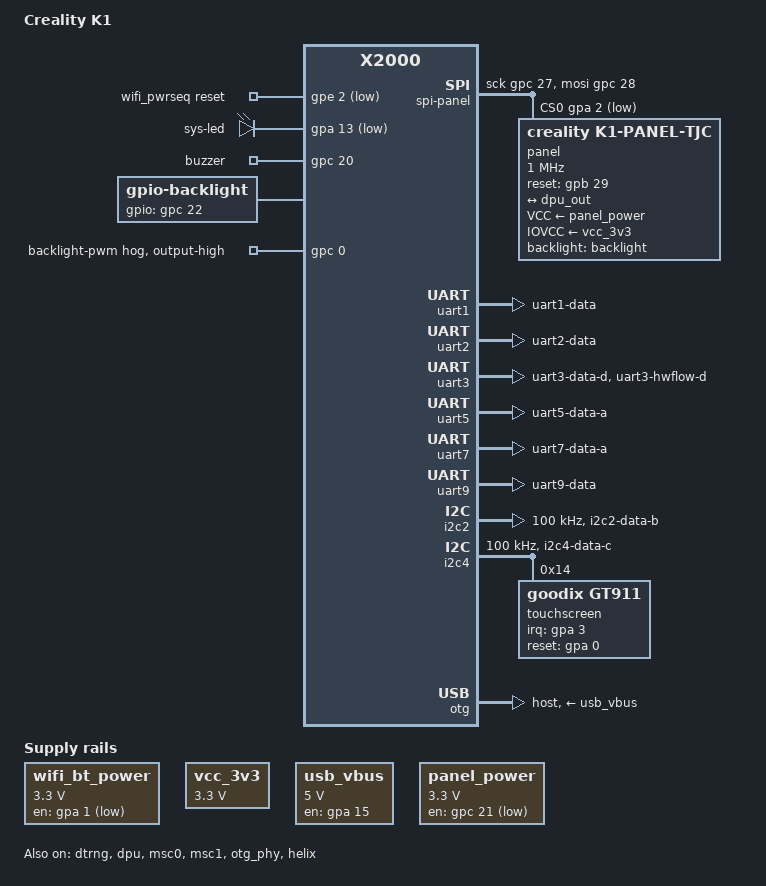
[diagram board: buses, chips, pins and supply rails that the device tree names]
// SPDX-License-Identifier: GPL-2.0
/*
 * Creality K1, mainboard CR4CU220812S11/S12: an Ingenic X2000 with 256 MiB
 * of RAM, 8 GB of eMMC, a CYW43438 Wi-Fi and Bluetooth module, three GD32
 * microcontrollers on UARTs and a USB hub with the camera behind it.
 *
 * What is wired to what comes from the printer's stock firmware 1.3.3.46:
 * its device tree as the running kernel showed it, the state of its GPIOs
 * and pin multiplexer, and the parameters of its modules. Datel OS's Yocto
 * layer keeps them (hardware/). Where this file differs from the tree
 * Datel OS ran on the SDK's 6.6 kernel, a comment says so.
 *
 * The display, its panel, the backlight and the touch controller are
 * described below.
 */

/dts-v1/;

#include <dt-bindings/gpio/gpio.h>
#include <dt-bindings/interrupt-controller/irq.h>

#include "x2000.dtsi"

/ {
	model = "Creality K1";
	compatible = "creality,k1", "ingenic,x2000";

	chosen {
		stdout-path = "serial2:115200n8";
	};

	/*
	 * The boot loader names the memory on the command line (mem=256M@0x0),
	 * so there is no memory node. The two areas here are the top 33 MiB of
	 * those 256.
	 */
	reserved-memory {
		#address-cells = <1>;
		#size-cells = <1>;
		ranges;

		/*
		 * The kernel log and the last panic, kept over a reset; they
		 * show under /sys/fs/pstore after the next boot.
		 */
		ramoops@df00000 {
			compatible = "ramoops";
			reg = <0x0df00000 0x00100000>;
			record-size = <0x10000>;
			console-size = <0x80000>;
			pmsg-size = <0x40000>;
			ecc-size = <16>;
			mem-type = <1>;
		};

		/*
		 * What the Helix codec works on: programs get their buffers
		 * from here through /dev/helix. The stock firmware keeps
		 * 36 MiB at 0x05000000 for the same purpose.
		 *
		 * no-map: the pool code maps the area itself and refuses
		 * memory the kernel has in use as RAM. The SDK kernel changed
		 * that code instead and picked the area by the size of the
		 * RAM (reg-64M, reg-128M, reg-256M); a K1 has one size.
		 */
		helix_pool: helix-pool@e000000 {
			compatible = "shared-dma-pool";
			reg = <0x0e000000 0x02000000>;
			no-map;
		};
	};

	/*
	 * One supply for both halves of the Wi-Fi and Bluetooth module,
	 * switched by PA1. A fixed regulator's line is active low unless
	 * enable-active-high says otherwise, whatever the flag in the cell.
	 */
	wifi_bt_power: regulator-wifi-bt {
		compatible = "regulator-fixed";
		regulator-name = "wifi_bt_power";
		regulator-min-microvolt = <3300000>;
		regulator-max-microvolt = <3300000>;
		gpio = <&gpa 1 GPIO_ACTIVE_LOW>;
		regulator-always-on;
		regulator-boot-on;
	};

	/*
	 * The board's 3.3 V rail, on whenever the board has power. Nothing
	 * switches it; it is here because the USB transceiver's binding asks
	 * for the transceiver's supply.
	 */
	vcc_3v3: regulator-vcc-3v3 {
		compatible = "regulator-fixed";
		regulator-name = "vcc_3v3";
		regulator-min-microvolt = <3300000>;
		regulator-max-microvolt = <3300000>;
		regulator-always-on;
	};

	/*
	 * VBUS of the USB port: PA15, high for on, as the stock firmware
	 * drives it while the port is a host.
	 *
	 * Datel OS's tree for the 6.6 kernel had the Halley5 board's lines
	 * instead, PC9 to switch VBUS and PD17 to sense it, and left PA15 an
	 * input, which reads low. The hub and the camera worked like that, so
	 * PA15 switches something behind them: the USB socket, most likely.
	 */
	usb_vbus: regulator-usb-vbus {
		compatible = "regulator-fixed";
		regulator-name = "usb_vbus";
		regulator-min-microvolt = <5000000>;
		regulator-max-microvolt = <5000000>;
		gpio = <&gpa 15 GPIO_ACTIVE_HIGH>;
		enable-active-high;
	};

	/*
	 * WL_REG_ON, PE2: low holds the Wi-Fi half of the module in reset. The
	 * MMC core lets go of the line when it powers the SDIO host up, and
	 * then waits 200 ms before the first command, for the chip to start.
	 * The wait cannot be left to the scan's retries: a scan that fails
	 * pulls the line low again.
	 */
	wifi_pwrseq: wifi-pwrseq {
		compatible = "mmc-pwrseq-simple";
		reset-gpios = <&gpe 2 GPIO_ACTIVE_LOW>;
		post-power-on-delay-ms = <200>;
	};

	leds {
		compatible = "gpio-leds";

		led-sys {
			label = "sys-led";
			gpios = <&gpa 13 GPIO_ACTIVE_LOW>;
			default-state = "on";
		};

		/*
		 * The mainboard's active DC piezo buzzer on PC20 (high = on).
		 * Stock firmware toggles it through soc_icodec's speaker_gpio1
		 * parameter while aplay runs, though no analog speaker is
		 * wired to the X2000's internal DAC. Exposed via gpio-leds
		 * (/sys/class/leds/buzzer/brightness) rather than gpio-beeper
		 * so it does not claim /dev/input/event0 ahead of the Goodix
		 * touchscreen.
		 */
		buzzer {
			label = "buzzer";
			gpios = <&gpc 20 GPIO_ACTIVE_HIGH>;
			default-state = "off";
		};
	};

	/*
	 * The panel's supply, switched by PC21, low for on: the stock panel
	 * driver drives the line low to power the panel, and it reads low
	 * while the RTOS shows the boot logo. A fixed regulator's line is
	 * active low without enable-active-high.
	 */
	panel_power: regulator-panel {
		compatible = "regulator-fixed";
		regulator-name = "panel_power";
		regulator-min-microvolt = <3300000>;
		regulator-max-microvolt = <3300000>;
		gpio = <&gpc 21 GPIO_ACTIVE_LOW>;
		startup-delay-us = <180000>;
	};

	/*
	 * The backlight: PC22 switches its supply (high = on), PC0 is its
	 * dimming input, PWM0 in the stock firmware at 50 kHz. No driver for
	 * the X2000's PWM is in this tree yet, so PC0 is held high (full
	 * brightness) and the backlight is either on or off.
	 */
	backlight: backlight {
		compatible = "gpio-backlight";
		gpios = <&gpc 22 GPIO_ACTIVE_HIGH>;
		default-on;
	};

	/*
	 * The panel's set-up port, a 3-wire 9-bit SPI on plain GPIOs as in the
	 * stock firmware: SCL PC27, SDA PC28, CS PA2. PB16 would be the
	 * panel's data out; the driver only writes.
	 */
	spi-panel {
		compatible = "spi-gpio";
		#address-cells = <1>;
		#size-cells = <0>;
		sck-gpios = <&gpc 27 GPIO_ACTIVE_HIGH>;
		mosi-gpios = <&gpc 28 GPIO_ACTIVE_HIGH>;
		cs-gpios = <&gpa 2 GPIO_ACTIVE_LOW>;
		num-chipselects = <1>;

		/*
		 * The panel the board reports with lcm_id=3. The stock
		 * firmware has one driver per panel vendor and picks one by
		 * that number; this tree knows only this one.
		 */
		panel@0 {
			compatible = "creality,k1-panel-tjc", "sitronix,st7701";
			reg = <0>;
			spi-max-frequency = <1000000>;
			VCC-supply = <&panel_power>;
			IOVCC-supply = <&vcc_3v3>;
			reset-gpios = <&gpb 29 GPIO_ACTIVE_HIGH>;
			backlight = <&backlight>;

			/*
			 * The panel is 480 wide and 800 high; the printer holds
			 * it on its side, its top edge to the viewer's left.
			 */
			rotation = <90>;

			port {
				panel_in: endpoint {
					remote-endpoint = <&dpu_out>;
				};
			};
		};
	};

	/*
	 * Not nodes, but wired: PA10 (SWDIO), PA6 (SWCLK) and PA7 (reset,
	 * active low) are the debug port of the mainboard's microcontroller.
	 * They stay plain GPIOs, for OpenOCD.
	 */
};

&exclk {
	clock-frequency = <24000000>;
};

/*
 * The CPU and its L2 cache run on the APLL, which the boot loader sets to
 * 1200 MHz. At that speed this board computes wrong floating point results
 * now and then (a few in a million repetitions of a fixed calculation on one
 * CPU, a few in a thousand with both CPUs busy), more when it is warm; the
 * same kernel and the same program give none at 912 MHz and below. Klipper
 * turns such a result into a step that lies before the previous one and
 * shuts the printer down. 912 MHz is the highest rate that was measured
 * clean, the PLL moving in steps of 24 MHz: with the bed at 60 C the board
 * gave a wrong result within a minute at 936 MHz and none in 25 minutes at
 * 912 MHz. That is one step of margin; the rate was 816 MHz before, four
 * steps below.
 */
&cgu {
	assigned-clocks = <&cgu X2000_CLK_APLL>;
	assigned-clock-rates = <912000000>;
};

&pinctrl {
	/*
	 * The supply of two pin banks, as the stock firmware has them: port A
	 * at 3.3 V, port E at 1.8 V. Port E carries the module's control
	 * lines and its 32 kHz clock. The board code reads these two
	 * (arch/mips/generic/board-ingenic-x2000.c); the pin control driver's
	 * binding does not know them.
	 */
	ingenic,gpa-microvolt = <3300000>;
	ingenic,gpe-msc-microvolt = <1800000>;

	/*
	 * No node here asks for a pull: the pins keep the pulls the boot
	 * loader left, as they did under the SDK's driver.
	 */

	/*
	 * TX and RX alone (PC23, PC24). The port's RTS and CTS would be PC21
	 * and PC22; on this board PC21 switches the panel's supply and PC22
	 * is its backlight.
	 */
	pins_uart1: uart1 {
		function = "uart1";
		groups = "uart1-data";
	};

	/* PD30, PD31 */
	pins_uart2: uart2 {
		function = "uart2";
		groups = "uart2-data";
	};

	/* PD2, PD3, and RTS and CTS on PD0, PD1 */
	pins_uart3: uart3 {
		function = "uart3";
		groups = "uart3-data-d", "uart3-hwflow-d";
	};

	/* PA4, PA5 */
	pins_uart5: uart5 {
		function = "uart5";
		groups = "uart5-data-a";
	};

	/* PA8, PA9 */
	pins_uart7: uart7 {
		function = "uart7";
		groups = "uart7-data-a";
	};

	/* PB30, PB31 */
	pins_uart9: uart9 {
		function = "uart9";
		groups = "uart9-data";
	};

	/*
	 * PB0 to PB15 (16 data lines), PB24 to PB27 (clock, vsync, hsync, data
	 * enable), as the stock firmware has them. The 18 and 24 bit groups
	 * stay out: PB16 is the panel's data out, PB22 and PB23 are I2C2.
	 */
	pins_lcd: lcd {
		function = "lcd";
		groups = "lcd-tft-8bit", "lcd-tft-16bit";
	};

	/* PB22, PB23 */
	pins_i2c2: i2c2 {
		function = "i2c2";
		groups = "i2c2-data-b";
	};

	/* PC25, PC26 */
	pins_i2c4: i2c4 {
		function = "i2c4";
		groups = "i2c4-data-c";
	};

	/* PD17 to PD26: clock, command, reset and eight data lines */
	pins_mmc0: mmc0 {
		function = "mmc0";
		groups = "mmc0-1bit", "mmc0-4bit", "mmc0-8bit";
	};

	/* PD8 to PD13: clock, command and four data lines */
	pins_mmc1: mmc1 {
		function = "mmc1";
		groups = "mmc1-1bit", "mmc1-4bit";
	};

	/* PE23 as the RTC's 32 kHz clock output, which the Wi-Fi module runs on */
	pins_clk32k: clk32k {
		function = "clk32k";
		groups = "clk32k";
	};
};

/* ttyS1: the microcontroller on the print head (GD32F303CBT6) */
&uart1 {
	pinctrl-names = "default";
	pinctrl-0 = <&pins_uart1>;
	status = "okay";
};

/* ttyS2: the console, on the header J1 */
&uart2 {
	pinctrl-names = "default";
	pinctrl-0 = <&pins_uart2>;
	status = "okay";
};

/*
 * ttyS3: the Bluetooth half of the module, with RTS and CTS. Its power-on
 * line is PE0, its wake-up lines PE3 (to the module) and PE1 (from it). No
 * driver is bound here: a program that wants Bluetooth sets PE0 and attaches
 * the port.
 */
&uart3 {
	pinctrl-names = "default";
	pinctrl-0 = <&pins_uart3>;
	status = "okay";
};

/* ttyS5: on in the stock firmware; what it is wired to is not known */
&uart5 {
	pinctrl-names = "default";
	pinctrl-0 = <&pins_uart5>;
	status = "okay";
};

/* ttyS7: the mainboard's microcontroller (GD32F303RET6) */
&uart7 {
	pinctrl-names = "default";
	pinctrl-0 = <&pins_uart7>;
	status = "okay";
};

/*
 * ttyS9: the levelling microcontroller, on the bed's strain gauges
 * (GD32E230F8P6)
 */
&uart9 {
	pinctrl-names = "default";
	pinctrl-0 = <&pins_uart9>;
	status = "okay";
};

/*
 * A BL24C16F EEPROM at 0x50. It has no node: Klipper reads it through
 * /dev/i2c-2, and a kernel driver on that address would keep it out.
 */
&i2c2 {
	clock-frequency = <100000>;
	pinctrl-names = "default";
	pinctrl-0 = <&pins_i2c2>;
	status = "okay";
};

/* The bus of the touch controller */
&i2c4 {
	clock-frequency = <100000>;
	pinctrl-names = "default";
	pinctrl-0 = <&pins_i2c4>;
	status = "okay";

	/*
	 * GT911, reset on PA0, interrupt on PA3. Its address follows the level
	 * of the interrupt line while it leaves reset: 0x14 with the line
	 * high, 0x5d with it low; the driver drives the line to match the
	 * address given here. Firmware 0x1060 reports 480x800, five points,
	 * falling edge, which the driver reads from the chip.
	 */
	touchscreen@14 {
		compatible = "goodix,gt911";
		reg = <0x14>;
		interrupt-parent = <&gpa>;
		interrupts = <3 IRQ_TYPE_EDGE_FALLING>;
		irq-gpios = <&gpa 3 GPIO_ACTIVE_HIGH>;
		reset-gpios = <&gpa 0 GPIO_ACTIVE_HIGH>;
		/*
		 * Positions in the panel's own frame, 480 by 800, as the stock
		 * firmware reports them: the touch UI turns them together with
		 * its picture (see the panel's rotation). As the viewer sees
		 * the screen, the panel's y runs from left to right and its x
		 * from the bottom to the top.
		 */
		touchscreen-size-x = <480>;
		touchscreen-size-y = <800>;
	};
};

&dtrng {
	status = "okay";
};

/* PC0, the backlight's dimming input, held high (see the backlight) */
&gpc {
	backlight-pwm-hog {
		gpio-hog;
		gpios = <0 GPIO_ACTIVE_HIGH>;
		output-high;
		line-name = "backlight-pwm";
	};
};

&dpu {
	pinctrl-names = "default";
	pinctrl-0 = <&pins_lcd>;
	status = "okay";

	port {
		dpu_out: endpoint {
			remote-endpoint = <&panel_in>;
		};
	};
};

/* The eMMC */
&msc0 {
	pinctrl-names = "default";
	pinctrl-0 = <&pins_mmc0>;
	bus-width = <8>;
	max-frequency = <100000000>;
	cap-mmc-highspeed;
	mmc-hs200-1_8v;
	non-removable;
	status = "okay";
};

/*
 * The Wi-Fi half of the module, on SDIO. The MMC core powers it up through
 * the power sequence (WL_REG_ON). The 32 kHz clock the module needs comes
 * out of PE23 from the moment the host is probed, before that line rises.
 */
&msc1 {
	pinctrl-names = "default";
	pinctrl-0 = <&pins_mmc1>, <&pins_clk32k>;
	bus-width = <4>;
	max-frequency = <100000000>;
	cap-sd-highspeed;
	sd-uhs-sdr104;
	cap-sdio-irq;
	non-removable;
	keep-power-in-suspend;
	vmmc-supply = <&wifi_bt_power>;
	mmc-pwrseq = <&wifi_pwrseq>;
	status = "okay";
};

/*
 * The port is a host port and nothing senses VBUS. The SDK's driver switched
 * the transceiver's VBUS comparator off for that; upstream's leaves it as it
 * comes out of reset, and the port does not care.
 */
&otg_phy {
	vcc-supply = <&vcc_3v3>;
	status = "okay";
};

/*
 * A host port with a hub on the board; the camera is behind the hub.
 *
 * ingenic,host-dma-desc: descriptor DMA, in which the controller reports
 * once per transfer and not once per microframe. Without it the camera's
 * stream meant 8500 interrupts a second.
 */
&otg {
	dr_mode = "host";
	disable-over-current;
	ingenic,host-dma-desc;
	vbus-supply = <&usb_vbus>;
	status = "okay";
};

/* H.264 and JPEG encoder, JPEG decoder: the camera stream and the timelapse */
&helix {
	memory-region = <&helix_pool>;
	status = "okay";
};
